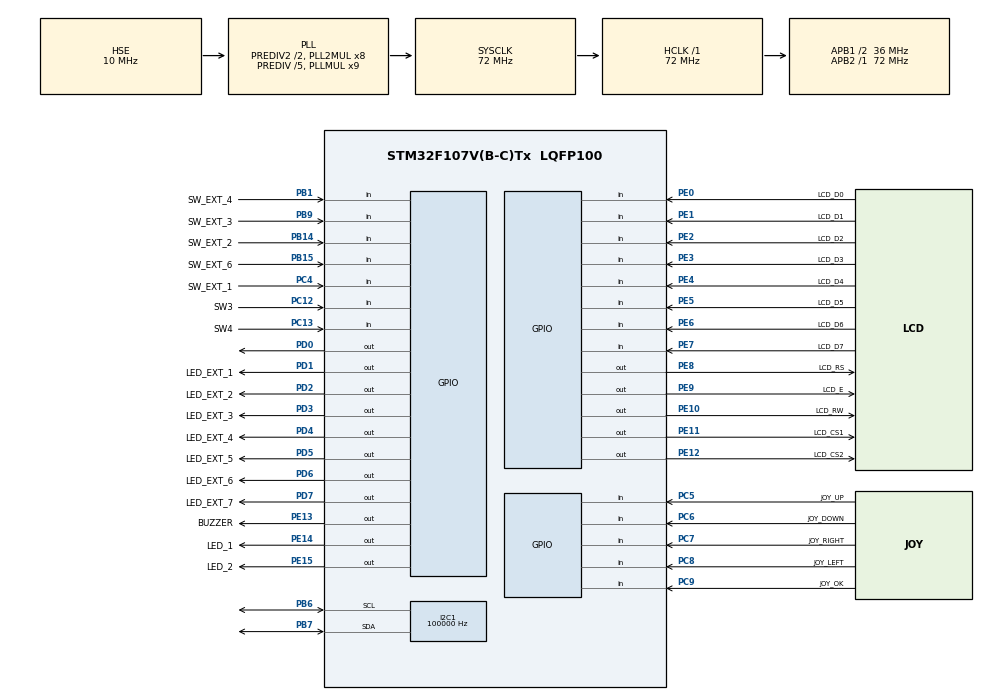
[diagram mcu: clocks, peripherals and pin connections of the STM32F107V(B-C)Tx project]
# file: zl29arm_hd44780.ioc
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I2C1.ClockSpeed=100000
Mcu.Family=STM32F1
Mcu.Name=STM32F107V(B-C)Tx
Mcu.Package=LQFP100
NVIC.PriorityGroup=NVIC_PRIORITYGROUP_4
NVIC.TIM7_IRQn=true\:0\:0\:false\:false\:true\:true\:true
OSC_IN.Mode=HSE-External-Oscillator
OSC_IN.Signal=RCC_OSC_IN
OSC_OUT.Mode=HSE-External-Oscillator
OSC_OUT.Signal=RCC_OSC_OUT
PB1.GPIO_Label=SW_EXT_4
PB1.Signal=GPIO_Input
PB14.GPIO_Label=SW_EXT_2
PB14.Signal=GPIO_Input
PB15.GPIO_Label=SW_EXT_6
PB15.Signal=GPIO_Input
PB5.Signal=I2C1_SMBA
PB6.Mode=I2C
PB6.Signal=I2C1_SCL
PB7.Mode=I2C
PB7.Signal=I2C1_SDA
PB9.GPIO_Label=SW_EXT_3
PB9.Signal=GPIO_Input
PC12.GPIO_Label=SW3
PC12.Signal=GPIO_Input
PC13-TAMPER-RTC.GPIO_Label=SW4
PC13-TAMPER-RTC.Signal=GPIO_Input
PC4.GPIO_Label=SW_EXT_1
PC4.Signal=GPIO_Input
PC5.GPIO_Label=JOY_UP
PC5.Signal=GPIO_Input
PC6.GPIO_Label=JOY_DOWN
PC6.Signal=GPIO_Input
PC7.GPIO_Label=JOY_RIGHT
PC7.Signal=GPIO_Input
PC8.GPIO_Label=JOY_LEFT
PC8.Signal=GPIO_Input
PC9.GPIO_Label=JOY_OK
PC9.Signal=GPIO_Input
PD0.Signal=GPIO_Output
PD1.GPIO_Label=LED_EXT_1
PD1.Signal=GPIO_Output
PD2.GPIO_Label=LED_EXT_2
PD2.Signal=GPIO_Output
PD3.GPIO_Label=LED_EXT_3
PD3.Signal=GPIO_Output
PD4.GPIO_Label=LED_EXT_4
PD4.Signal=GPIO_Output
PD5.GPIO_Label=LED_EXT_5
PD5.Signal=GPIO_Output
PD6.GPIO_Label=LED_EXT_6
PD6.Signal=GPIO_Output
PD7.GPIO_Label=LED_EXT_7
PD7.Signal=GPIO_Output
PE0.GPIO_Label=LCD_D0
PE0.Signal=GPIO_Input
PE1.GPIO_Label=LCD_D1
PE1.GPIO_Mode=GPIO_MODE_INPUT
PE1.GPIO_PuPd=GPIO_NOPULL
PE1.Signal=GPIO_Input
PE10.GPIO_Label=LCD_RW
PE10.Signal=GPIO_Output
PE11.GPIO_Label=LCD_CS1
PE11.Signal=GPIO_Output
PE12.GPIO_Label=LCD_CS2
PE12.Signal=GPIO_Output
PE13.GPIO_Label=BUZZER
PE13.GPIO_ModeDefaultOutputPP=GPIO_MODE_OUTPUT_PP
PE13.Signal=GPIO_Output
PE14.GPIO_Label=LED_1
PE14.GPIO_ModeDefaultOutputPP=GPIO_MODE_OUTPUT_OD
PE14.PinState=GPIO_PIN_SET
PE14.Signal=GPIO_Output
PE15.GPIO_Label=LED_2
PE15.GPIO_ModeDefaultOutputPP=GPIO_MODE_OUTPUT_OD
PE15.PinState=GPIO_PIN_SET
PE15.Signal=GPIO_Output
PE2.GPIO_Label=LCD_D2
PE2.GPIO_Mode=GPIO_MODE_INPUT
PE2.GPIO_PuPd=GPIO_NOPULL
PE2.Signal=GPIO_Input
PE3.GPIO_Label=LCD_D3
PE3.GPIO_Mode=GPIO_MODE_INPUT
PE3.GPIO_PuPd=GPIO_NOPULL
PE3.Signal=GPIO_Input
PE4.GPIO_Label=LCD_D4
PE4.GPIO_Mode=GPIO_MODE_INPUT
PE4.GPIO_PuPd=GPIO_NOPULL
PE4.Signal=GPIO_Input
PE5.GPIO_Label=LCD_D5
PE5.GPIO_Mode=GPIO_MODE_INPUT
PE5.GPIO_PuPd=GPIO_NOPULL
PE5.Signal=GPIO_Input
PE6.GPIO_Label=LCD_D6
PE6.GPIO_Mode=GPIO_MODE_INPUT
PE6.GPIO_PuPd=GPIO_NOPULL
PE6.Signal=GPIO_Input
PE7.GPIO_Label=LCD_D7
PE7.GPIO_Mode=GPIO_MODE_INPUT
PE7.GPIO_PuPd=GPIO_NOPULL
PE7.Signal=GPIO_Input
PE8.GPIO_Label=LCD_RS
PE8.Signal=GPIO_Output
PE9.GPIO_Label=LCD_E
PE9.Signal=GPIO_Output
ProjectManager.HeapSize=0x200
ProjectManager.StackSize=0x400
ProjectManager.TargetToolchain=MDK-ARM V5.32
RCC.AHBFreq_Value=72000000
RCC.APB1CLKDivider=RCC_HCLK_DIV2
RCC.APB1Freq_Value=36000000
RCC.APB1TimFreq_Value=72000000
RCC.APB2Freq_Value=72000000
RCC.APB2TimFreq_Value=72000000
RCC.HCLKFreq_Value=72000000
RCC.HSEDivPLL=RCC_HSE_PREDIV_DIV5
RCC.HSE_VALUE=10000000
RCC.PLLMUL=RCC_PLL_MUL9
RCC.PLLSourceVirtual=RCC_PLLSOURCE_HSE
RCC.Prediv1Source=RCC_PREDIV1_SOURCE_PLL2
RCC.Prediv2=RCC_HSE_PREDIV2_DIV2
RCC.SYSCLKFreq_VALUE=72000000
RCC.SYSCLKSource=RCC_SYSCLKSOURCE_PLLCLK
RCC.USBFreq_Value=48000000
TIM7.Period=1000
TIM7.Prescaler=7200
VP_SYS_VS_ND.Mode=No_Debug
VP_TIM7_VS_ClockSourceINT.Mode=Enable_Timer
board=zl29arm

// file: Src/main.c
/* USER CODE BEGIN Header */
/**
  ******************************************************************************
  * @file           : main.c
  * @brief          : Main program body
  ******************************************************************************
  * @attention
  *
  * <h2><center>&copy; Copyright (c) 2021 STMicroelectronics.
  * All rights reserved.</center></h2>
  *
  * This software component is licensed by ST under BSD 3-Clause license,
  * the "License"; You may not use this file except in compliance with the
  * License. You may obtain a copy of the License at:
  *                        opensource.org/licenses/BSD-3-Clause
  *
  ******************************************************************************
  */
/* USER CODE END Header */
#include "main.h"
#include "i2c.h"
#include "tim.h"
#include "gpio.h"

/* USER CODE BEGIN Includes */
#include <stdio.h>
#include "DriverBMP280.hpp"
#include "lcd_hd44780_lib.h"
/* USER CODE END Includes */

void SystemClock_Config(void);

/* USER CODE BEGIN 0 */

float pressure, temperature, humidity;
uint8_t Data[256];
/* USER CODE END 0 */

int main(void)
{

  /* MCU Configuration--------------------------------------------------------*/

  /* Reset of all peripherals, Initializes the Flash interface and the Systick. */
  HAL_Init();

  /* Configure the system clock */
  SystemClock_Config();

  /* Initialize all configured peripherals */
  MX_GPIO_Init();
  MX_TIM7_Init();
  MX_I2C1_Init();
  /* USER CODE BEGIN 2 */
  LCD_Initialize();

  uint8_t stopien[8] = {
		0x06,
		0x09,
		0x09,
		0x06,
		0x00,
		0x00,
		0x00,
		0x00
	};

	uint8_t znaczek[8] = {
		0x1C,
		0x08,
		0x0A,
		0x0A,
		0x0A,
		0x08,
		0x1C,
		0x00
	};

  LCD_SetUserChar(0, 1, stopien);
  LCD_SetUserChar(1, 1, znaczek);

	LCD_WriteTextXY((uint8_t*)"Projekt; Plech", 0, 0);
  LCD_WriteTextXY((uint8_t*)"Bielecki Mrozek", 0, 1);
  HAL_Delay(3000);

  /* USER CODE END 2 */

  /* Infinite loop */
  /* USER CODE BEGIN WHILE */
	#define BMP280_I2C_ADDRESS 0x76
  DriverBMP280 bmp(&hi2c1, BMP280_I2C_ADDRESS);
  while(!bmp.Init()) {
		LCD_WriteTextXY((uint8_t *)"Init failed", 0, 0);
		HAL_Delay(3000);
	}

  while (1)
  {
    HAL_Delay(100);
    while (!bmp.ReadValues(temperature, pressure, humidity))
    {
      LCD_WriteText((uint8_t *)"reading failed");
      HAL_Delay(2000);
    }
    LCD_Clear();
    sprintf((char *)Data, " %.1fhPa", pressure / 100);
    LCD_WriteTextXY((uint8_t *)Data, 0, 1);
    sprintf((char *)Data, " %.1f C  %.1f%%", temperature, humidity);
    LCD_WriteTextXY((uint8_t *)Data, 0, 0);
		// Stopien
		LCD_GoTo(5,0);
		LCD_WriteData(0x00);
		// Cisnienie
		LCD_GoTo(0,1);
		LCD_WriteData(0x01);
		// Temperatura
		LCD_GoTo(0,0);
		LCD_WriteData(0x01);
		// Wilgotnosc
		LCD_GoTo(8,0);
		LCD_WriteData(0x01);
    HAL_Delay(2000);
    /* USER CODE END WHILE */

  }
}

void SystemClock_Config(void)
{
  RCC_OscInitTypeDef RCC_OscInitStruct = {0};
  RCC_ClkInitTypeDef RCC_ClkInitStruct = {0};

  /** Initializes the RCC Oscillators according to the specified parameters
  * in the RCC_OscInitTypeDef structure.
  */
  RCC_OscInitStruct.OscillatorType = RCC_OSCILLATORTYPE_HSE;
  RCC_OscInitStruct.HSEState = RCC_HSE_ON;
  RCC_OscInitStruct.HSEPredivValue = RCC_HSE_PREDIV_DIV5;
  RCC_OscInitStruct.HSIState = RCC_HSI_ON;
  RCC_OscInitStruct.Prediv1Source = RCC_PREDIV1_SOURCE_PLL2;
  RCC_OscInitStruct.PLL.PLLState = RCC_PLL_ON;
  RCC_OscInitStruct.PLL.PLLSource = RCC_PLLSOURCE_HSE;
  RCC_OscInitStruct.PLL.PLLMUL = RCC_PLL_MUL9;
  RCC_OscInitStruct.PLL2.PLL2State = RCC_PLL2_ON;
  RCC_OscInitStruct.PLL2.PLL2MUL = RCC_PLL2_MUL8;
  RCC_OscInitStruct.PLL2.HSEPrediv2Value = RCC_HSE_PREDIV2_DIV2;
  if (HAL_RCC_OscConfig(&RCC_OscInitStruct) != HAL_OK)
  {
    Error_Handler();
  }
  /** Initializes the CPU, AHB and APB buses clocks
  */
  RCC_ClkInitStruct.ClockType = RCC_CLOCKTYPE_HCLK | RCC_CLOCKTYPE_SYSCLK | RCC_CLOCKTYPE_PCLK1 | RCC_CLOCKTYPE_PCLK2;
  RCC_ClkInitStruct.SYSCLKSource = RCC_SYSCLKSOURCE_PLLCLK;
  RCC_ClkInitStruct.AHBCLKDivider = RCC_SYSCLK_DIV1;
  RCC_ClkInitStruct.APB1CLKDivider = RCC_HCLK_DIV2;
  RCC_ClkInitStruct.APB2CLKDivider = RCC_HCLK_DIV1;

  if (HAL_RCC_ClockConfig(&RCC_ClkInitStruct, FLASH_LATENCY_2) != HAL_OK)
  {
    Error_Handler();
  }
  /** Configure the Systick interrupt time
  */
  __HAL_RCC_PLLI2S_ENABLE();
}

void Error_Handler(void)
{
  __disable_irq();
  while (1)
  {
  }
}

/************************ (C) COPYRIGHT STMicroelectronics *****END OF FILE****/
